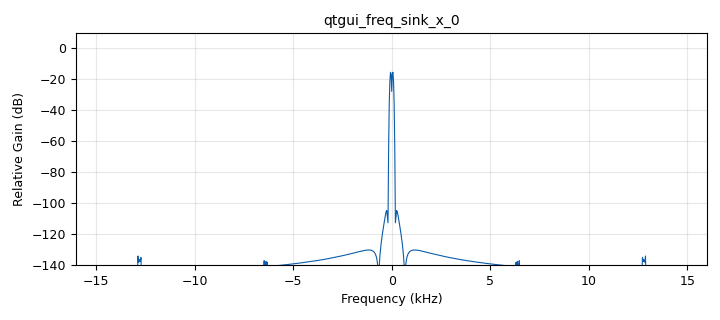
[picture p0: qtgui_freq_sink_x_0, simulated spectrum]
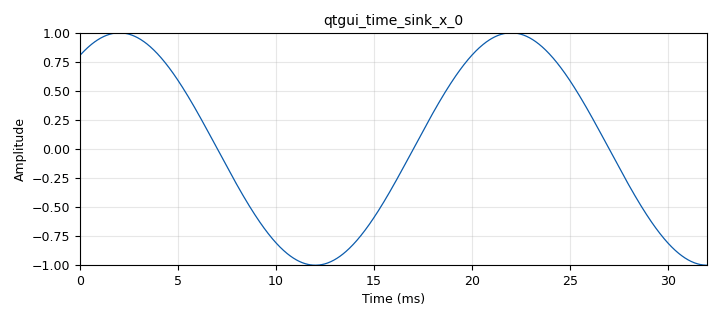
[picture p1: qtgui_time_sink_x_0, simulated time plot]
options:
  parameters:
    generate_options: qt_gui
    id: dsp_basics_lesson_2
    output_language: python
    title: Not titled yet
  states: {}

blocks:
- name: hw_2_samp_rate
  id: variable
  parameters:
    value: '64000'
  states: {}
- name: samp_rate
  id: variable
  parameters:
    value: '32000'
  states: {}
- name: signal_slider
  id: variable_qtgui_range
  parameters:
    start: '-25000'
    step: '100'
    stop: '25000'
    value: '50'
  states: {}
- name: analog_sig_source_x_0
  id: analog_sig_source_x
  parameters:
    amp: '1'
    freq: signal_slider
    offset: '0'
    phase: '0'
    samp_rate: samp_rate
    type: float
    waveform: analog.GR_COS_WAVE
  states: {}
- name: analog_sig_source_x_0_0
  id: analog_sig_source_x
  parameters:
    amp: '1'
    freq: signal_slider
    offset: '0'
    phase: '0'
    samp_rate: hw_2_samp_rate
    type: complex
    waveform: analog.GR_SIN_WAVE
  states: {state: disabled}
- name: blocks_add_xx_0
  id: blocks_add_xx
  parameters:
    type: complex
  states: {state: disabled}
- name: blocks_throttle2_0
  id: blocks_throttle2
  parameters:
    samples_per_second: samp_rate
    type: float
  states: {}
- name: qtgui_freq_sink_x_0
  id: qtgui_freq_sink_x
  parameters:
    bw: samp_rate
    ctrlpanel: 'True'
    fc: '0'
    fftsize: '1024'
    type: float
  states: {}
- name: qtgui_time_sink_x_0
  id: qtgui_time_sink_x
  parameters:
    ctrlpanel: 'True'
    size: '1024'
    srate: samp_rate
    type: float
  states: {}

connections:
- [analog_sig_source_x_0, '0', blocks_add_xx_0, '0']
- [analog_sig_source_x_0, '0', blocks_throttle2_0, '0']
- [analog_sig_source_x_0_0, '0', blocks_add_xx_0, '1']
- [blocks_add_xx_0, '0', blocks_throttle2_0, '0']
- [blocks_throttle2_0, '0', qtgui_freq_sink_x_0, '0']
- [blocks_throttle2_0, '0', qtgui_time_sink_x_0, '0']

metadata:
  file_format: 1
  grc_version: 3.10.12.0
